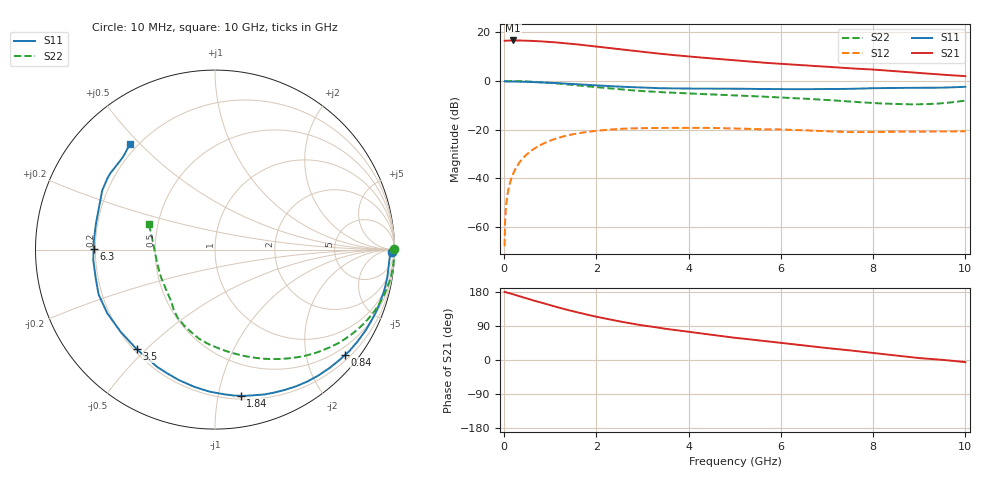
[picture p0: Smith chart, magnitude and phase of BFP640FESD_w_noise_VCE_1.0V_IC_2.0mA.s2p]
! Infineon Technologies  Discrete & RF Semiconductors
! BFP640FESD
! VCE =  1.0 V,  IC =  2.0 mA
! Common Emitter S-Parameters:  Jan 2016
# GHz  S  MA  R  50
!  f  S11  S21  S12  S22
! GHz  MAG  ANG  MAG  ANG  MAG  ANG  MAG  ANG
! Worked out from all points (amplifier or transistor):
!   233 points, 10 MHz to 10 GHz, reference 50 ohm
!   highest |S21| = 16.6 dB at 195 MHz (marker M1)
!   |S21| within 3 dB of that: start of sweep to 2.231 GHz
!   unconditionally stable (mu >= 1): 6.765 GHz to end of sweep
!   at 200 MHz: K = -0.01, MSG = 27.3 dB, |S12| = -38.0 dB
!   at 1.74 GHz: K = 0.15, MSG = 17.9 dB, |S12| = -21.1 dB
!   at 10 GHz: K = 1.52, MAG = 7.1 dB, |S12| = -20.7 dB
!   lowest NFmin = 0.44 dB at 450 MHz
!   S11 on the Smith chart (normalised r, x): 10 MHz: open; 840 MHz: 0.31, -2.80; 1.84 GHz: 0.23, -1.17; 3.5 GHz: 0.21, -0.47; 6.3 GHz: 0.19, +0.00; 10 GHz: 0.17, +0.47
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0.01  0.9852 -0.7  6.713 179.6  0.0004 77.1  0.9961 0.1
0.02  0.9747 -0.8  6.706 179.6  0.0013 87.5  0.9995 -0.7
0.05  0.9748 -2.3  6.719 178.2  0.0032 88.9  0.9993 -1.5
0.115  0.9719 -5.3  6.777 176.3  0.0073 86.7  0.9982 -3.5
0.195  0.9722 -9.1  6.798 173.4  0.0123 84.5  0.9959 -5.9
0.5  0.9589 -23.4  6.723 162.2  0.0314 75.7  0.9751 -15.1
0.84  0.9328 -38.9  6.474 150.1  0.0509 65.8  0.9336 -24.9
1.24  0.8923 -56.6  6.06 136.5  0.0704 54.9  0.8702 -35.9
1.4  0.8737 -63.3  5.864 131.3  0.0768 50.7  0.8423 -40.1
1.68  0.8431 -74.2  5.514 123.0  0.0862 44.1  0.7947 -46.9
1.84  0.8267 -80.0  5.299 118.5  0.0906 40.7  0.769 -50.6
2.22  0.7897 -92.8  4.826 108.6  0.0986 33.3  0.7118 -58.9
2.6  0.7562 -104.9  4.393 99.7  0.1042 26.6  0.6615 -66.7
3  0.7289 -116.1  3.964 91.3  0.1071 20.7  0.6188 -73.9
3.4  0.7078 -125.7  3.607 84.3  0.108 16.1  0.5884 -79.6
3.5  0.7057 -128.2  3.527 82.3  0.1083 15.0  0.5818 -81.1
4.5  0.6972 -149.5  2.905 66.3  0.1081 6.5  0.5286 -93.7
5.1  0.6917 -160.5  2.594 57.4  0.105 2.3  0.4997 -101.1
6.3  0.6765 179.7  2.162 41.1  0.0982 -2.6  0.4423 -115.8
6.8  0.6764 171.2  2.013 34.3  0.094 -3.5  0.4168 -122.0
8.4  0.719 146.5  1.612 13.1  0.0902 0.9  0.3384 -152.3
10  0.7567 128.7  1.254 -5.6  0.0921 2.9  0.3939 159.1
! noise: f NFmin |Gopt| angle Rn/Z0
0.45  0.44  0.76  9  0.24
2.4  0.82  0.46  59  0.2
5.5  1.23  0.53  146  0.09
10  2.5  0.6  -127  0.33
